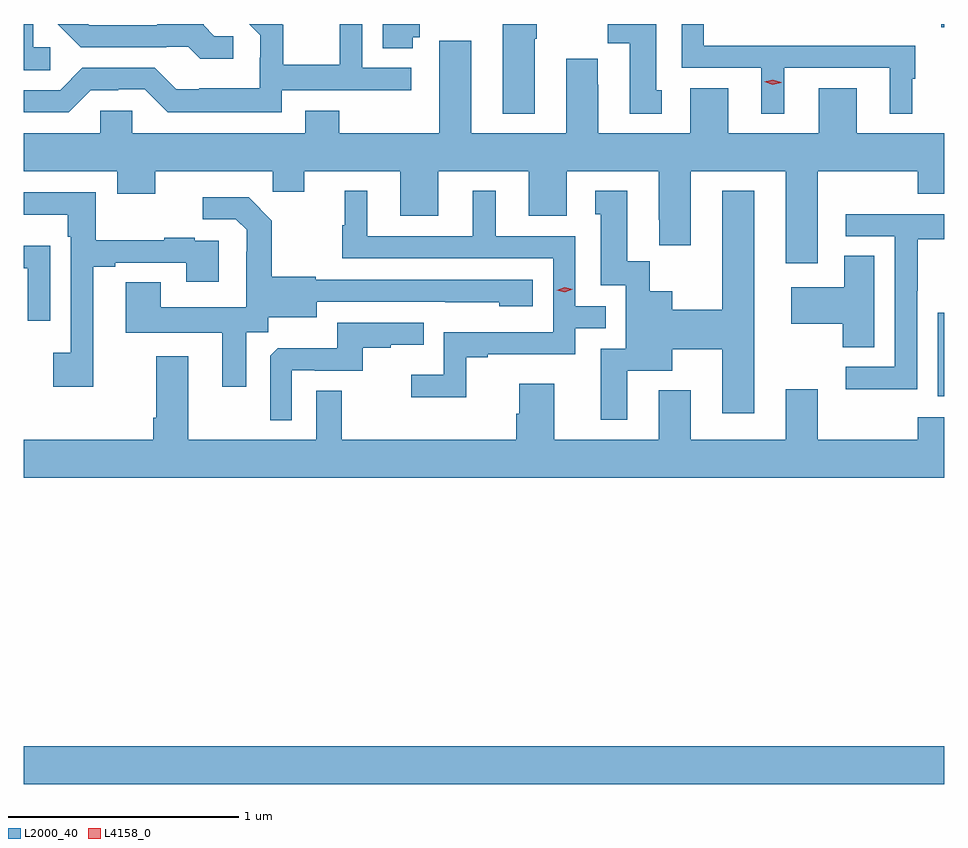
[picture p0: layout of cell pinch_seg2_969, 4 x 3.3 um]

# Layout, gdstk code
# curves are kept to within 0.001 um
import gdstk
lib = gdstk.Library(unit=1e-6, precision=1e-09)
def R(c, l, rs):  # rectangles x0, y0, x1, y1
    for r in rs: c.add(gdstk.rectangle(r[:2], r[2:], *l))
def P(c, l, *ps):  # polygons
    for p in ps: c.add(gdstk.Polygon(p, *l))
L2000_40 = (2000, 40)
L4158_0 = (4158, 0)

pinch_seg2_969 = lib.new_cell('pinch_seg2_969')
R(pinch_seg2_969, L2000_40, [(192.654,647.636,196.654,647.8), (196.625,649.322,196.654,649.683)])
P(pinch_seg2_969, L2000_40, [(194.344,650.882),(194.374,650.882),(194.374,650.939),(194.213,650.939),(194.213,650.833),(194.344,650.833)],
  [(196.654,650.939),(195.699,650.939),(195.699,650.937),(196.641,650.937),(196.641,650.925),(196.654,650.925)],
  [(193.776,650.652),(194.338,650.652),(194.338,650.748),(194.124,650.748),(194.124,650.939),(194.026,650.939),(194.026,650.761),(193.781,650.761),(193.781,650.935),(193.777,650.939),(193.633,650.939),(193.682,650.89),(193.682,650.793),(193.68,650.793),(193.68,650.659),(193.417,650.659),(193.417,650.655),(193.317,650.655),(193.224,650.748),(192.909,650.748),(192.813,650.652),(192.654,650.652),(192.654,650.556),(192.849,650.556),(192.945,650.652),(193.064,650.652),(193.064,650.655),(193.179,650.655),(193.279,650.555),(193.776,650.555)],
  [(195.958,650.748),(196.418,650.748),(196.418,650.549),(196.516,650.549),(196.516,650.7),(196.528,650.7),(196.528,650.844),(195.609,650.844),(195.609,650.939),(195.513,650.939),(195.513,650.748),(195.86,650.748),(195.86,650.549),(195.958,650.549)],
  [(192.769,650.838),(192.696,650.838),(192.696,650.939),(192.654,650.939),(192.654,650.737),(192.769,650.737)],
  [(195.427,650.652),(195.403,650.652),(195.403,650.939),(195.191,650.939),(195.191,650.856),(195.287,650.856),(195.287,650.55),(195.427,650.55)],
  [(194.875,650.875),(194.883,650.875),(194.883,650.939),(194.735,650.939),(194.735,650.549),(194.875,650.549)],
  [(193.564,650.886),(193.482,650.886),(193.435,650.933),(193.435,650.939),(193.235,650.939),(193.235,650.934),(192.94,650.934),(192.935,650.939),(192.801,650.939),(192.902,650.838),(193.274,650.838),(193.274,650.841),(193.368,650.841),(193.42,650.789),(193.564,650.789)],
  [(195.551,650.659),(195.551,650.464),(195.151,650.464),(195.151,650.675),(195.148,650.675),(195.148,650.788),(195.011,650.788),(195.011,650.464),(194.599,650.464),(194.599,650.866),(194.459,650.866),(194.459,650.464),(194.025,650.464),(194.025,650.563),(193.877,650.563),(193.877,650.464),(193.125,650.464),(193.125,650.562),(192.987,650.562),(192.987,650.464),(192.654,650.464),(192.654,650.3),(193.061,650.3),(193.061,650.201),(193.225,650.201),(193.225,650.3),(193.735,650.3),(193.735,650.21),(193.873,650.21),(193.873,650.3),(194.291,650.3),(194.291,650.106),(194.455,650.106),(194.455,650.3),(194.849,650.3),(194.849,650.106),(195.013,650.106),(195.013,650.3),(195.413,650.3),(195.413,650.089),(195.416,650.089),(195.416,649.977),(195.553,649.977),(195.553,650.3),(195.965,650.3),(195.965,649.899),(196.105,649.899),(196.105,650.3),(196.54,650.3),(196.54,650.201),(196.654,650.201),(196.654,650.464),(196.273,650.464),(196.273,650.659),(196.109,650.659),(196.109,650.464),(195.715,650.464),(195.715,650.659)],
  [(195.277,649.433),(195.472,649.433),(195.472,649.525),(195.689,649.525),(195.689,649.248),(195.829,649.248),(195.829,650.215),(195.689,650.215),(195.689,649.697),(195.472,649.697),(195.472,649.777),(195.375,649.777),(195.375,649.907),(195.277,649.907),(195.277,650.215),(195.137,650.215),(195.137,650.112),(195.161,650.112),(195.161,649.803),(195.27,649.803),(195.27,649.527),(195.161,649.527),(195.161,649.218),(195.277,649.218)],
  [(194.577,649.491),(194.671,649.491),(194.671,649.503),(195.051,649.503),(195.051,649.617),(195.184,649.617),(195.184,649.713),(195.051,649.713),(195.051,650.016),(194.704,650.016),(194.704,650.215),(194.606,650.215),(194.606,650.016),(194.146,650.016),(194.146,650.215),(194.048,650.215),(194.048,650.064),(194.037,650.064),(194.037,649.92),(194.955,649.92),(194.955,649.599),(194.478,649.599),(194.478,649.414),(194.337,649.414),(194.337,649.316),(194.577,649.316)],
  [(192.955,649.884),(193.051,649.884),(193.051,649.902),(193.361,649.902),(193.361,649.818),(193.501,649.818),(193.501,649.998),(193.397,649.998),(193.397,650.011),(193.265,650.011),(193.265,650),(192.967,650),(192.967,650.208),(192.654,650.208),(192.654,650.111),(192.846,650.111),(192.846,650.015),(192.858,650.015),(192.858,649.51),(192.783,649.51),(192.783,649.362),(192.955,649.362)],
  [(193.621,649.6),(193.716,649.6),(193.716,649.664),(193.927,649.664),(193.927,649.731),(194.721,649.73),(194.721,649.712),(194.866,649.712),(194.866,649.827),(193.923,649.827),(193.923,649.84),(193.731,649.84),(193.731,650.085),(193.631,650.185),(193.431,650.185),(193.431,650.091),(193.575,650.091),(193.622,650.044),(193.622,649.949),(193.62,649.949),(193.62,649.708),(193.249,649.708),(193.249,649.817),(193.097,649.817),(193.097,649.598),(193.517,649.598),(193.517,649.362),(193.621,649.362)],
  [(196.536,649.78),(196.539,649.78),(196.539,650.004),(196.654,650.004),(196.654,650.112),(196.227,650.112),(196.227,650.016),(196.44,650.016),(196.44,649.449),(196.227,649.449),(196.227,649.351),(196.536,649.351)],
  [(192.768,649.975),(192.654,649.975),(192.654,649.878),(192.672,649.878),(192.672,649.65),(192.768,649.65)],
  [(196.351,649.931),(196.22,649.931),(196.22,649.795),(195.99,649.795),(195.99,649.637),(196.213,649.637),(196.213,649.534),(196.351,649.534)],
  [(193.818,649.434),(193.918,649.434),(193.918,649.431),(194.126,649.431),(194.126,649.533),(194.249,649.533),(194.249,649.544),(194.393,649.544),(194.393,649.641),(194.016,649.641),(194.016,649.529),(193.757,649.529),(193.725,649.497),(193.725,649.217),(193.818,649.217)],
  [(196.654,649.231),(196.54,649.231),(196.54,649.132),(196.105,649.132),(196.105,649.351),(195.965,649.351),(195.965,649.132),(195.553,649.132),(195.553,649.348),(195.413,649.348),(195.413,649.132),(194.959,649.132),(194.959,649.375),(194.807,649.375),(194.807,649.245),(194.795,649.245),(194.795,649.132),(194.035,649.132),(194.035,649.346),(193.926,649.346),(193.926,649.132),(193.369,649.132),(193.369,649.495),(193.229,649.495),(193.229,649.228),(193.217,649.228),(193.217,649.132),(192.654,649.132),(192.654,648.968),(196.654,648.968)])
P(pinch_seg2_969, L4158_0, [(195.006,649.774),(194.971,649.781),(194.97,649.781),(194.971,649.781),(195.004,649.794),(195.039,649.786),(195.04,649.786),(195.039,649.786)],
  [(195.909,650.676),(195.873,650.687),(195.873,650.687),(195.873,650.687),(195.909,650.696),(195.945,650.685),(195.945,650.684),(195.945,650.684)])

lib.write_gds('pinch_seg2_969.gds')
